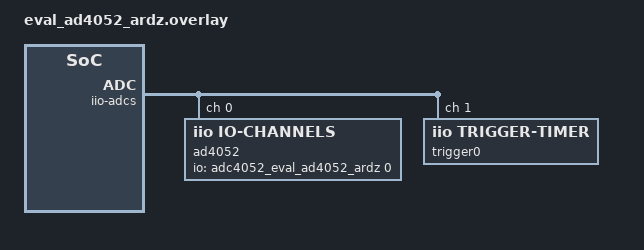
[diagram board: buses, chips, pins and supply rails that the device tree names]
/*
 * Copyright (c) 2025 Analog Devices, Inc.
 *
 * SPDX-License-Identifier: MIT
 */

/ {
	iio-context {
		iio-adcs {
			#address-cells = <1>;
			#size-cells = <0>;

			ad4052@0 {
				compatible = "iio,io-channels";
				reg = <0>;
				io-channels = <&adc4052_eval_ad4052_ardz 0>;
				io-channel-names = "adc_in_ch0";
				io-name = "ad4052";
				trigger-device = <&trigger0>;
			};

			trigger0: ad4052@1 {
				compatible = "iio,trigger-timer";
				reg = <1>;
				trigger-id = "trigger0";
				trigger-type = "timer";
			};
		};
	};
};
